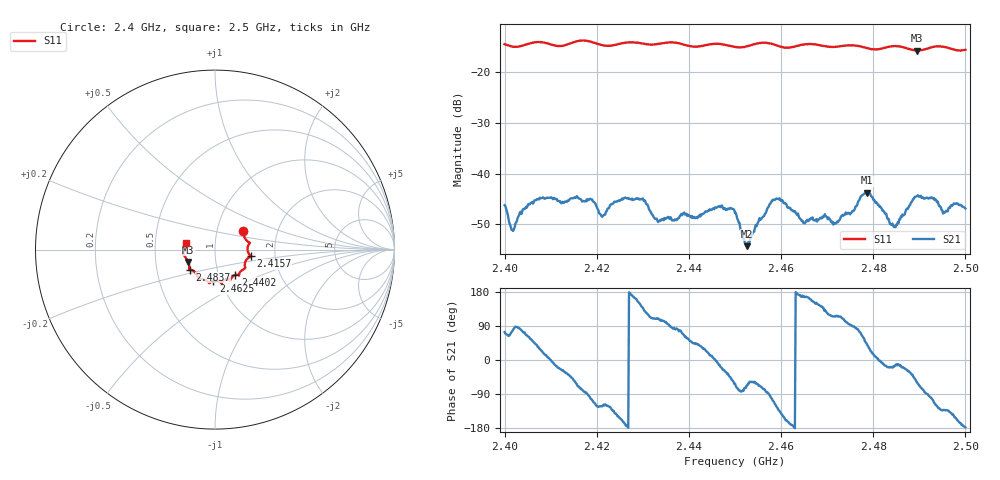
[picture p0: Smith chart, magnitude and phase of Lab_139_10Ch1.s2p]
# Hz S RI R 50
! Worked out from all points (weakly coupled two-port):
!   601 points, 2.4 GHz to 2.5 GHz, reference 50 ohm
!   highest |S21| = -43.72 dB at 2.4787 GHz (marker M1); lowest = -54.3 dB at 2.4525 GHz (marker M2)
!   lowest |S11| = -15.7 dB at 2.4895 GHz (marker M3), VSWR 1.39, Z = 36.8 - j5.15 ohm
!   |S11| at or under -10 dB: start of sweep to end of sweep
!   S12 and S22 are empty: the file has one direction only
!   S11 on the Smith chart (normalised r, x): 2.4 GHz: 1.33, +0.29; 2.4157 GHz: 1.49, -0.11; 2.4402 GHz: 1.20, -0.35; 2.4625 GHz: 0.92, -0.34; 2.4837 GHz: 0.74, -0.17; 2.5 GHz: 0.72, +0.05
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2.4e9  0.1566 0.1058  0.00138 0.0047  0 0  0 0
2.401667e9  0.1598 0.0808  0.000654 0.00271  0 0  0 0
2.406833e9  0.194 0.0389  0.00414 0.0036  0 0  0 0
2.415667e9  0.1987 -0.0364  0.00269 -0.00538  0 0  0 0
2.416667e9  0.2016 -0.0397  0.00118 -0.00539  0 0  0 0
2.421333e9  0.1751 -0.0565  -0.00188 -0.00335  0 0  0 0
2.4295e9  0.1599 -0.1087  -0.0046 0.00315  0 0  0 0
2.433333e9  0.1355 -0.1337  -0.00112 0.00315  0 0  0 0
2.440167e9  0.1142 -0.1403  0.00243 0.00294  0 0  0 0
2.45e9  0.0642 -0.1656  0.00191 -0.00363  0 0  0 0
2.4525e9  0.043 -0.1742  0.000725 -0.00179  0 0  0 0
2.458333e9  0.0342 -0.1854  -0.00175 -0.0052  0 0  0 0
2.4625e9  -0.00998 -0.177  -0.00432 -0.000565  0 0  0 0
2.466667e9  -0.0334 -0.1865  -0.00331 0.00148  0 0  0 0
2.471833e9  -0.0664 -0.1652  -0.00134 0.00293  0 0  0 0
2.478667e9  -0.1027 -0.1386  0.00496 0.00422  0 0  0 0
2.483333e9  -0.1382 -0.112  0.00339 -0.00119  0 0  0 0
2.483667e9  -0.14 -0.1117  0.00302 -0.00102  0 0  0 0
2.485e9  -0.1442 -0.1091  0.00309 -0.00063  0 0  0 0
2.4895e9  -0.1485 -0.0682  0.00311 -0.00513  0 0  0 0
2.495333e9  -0.1768 -0.0196  -0.00279 -0.00312  0 0  0 0
2.5e9  -0.1625 0.0363  -0.00454 -0.000194  0 0  0 0
